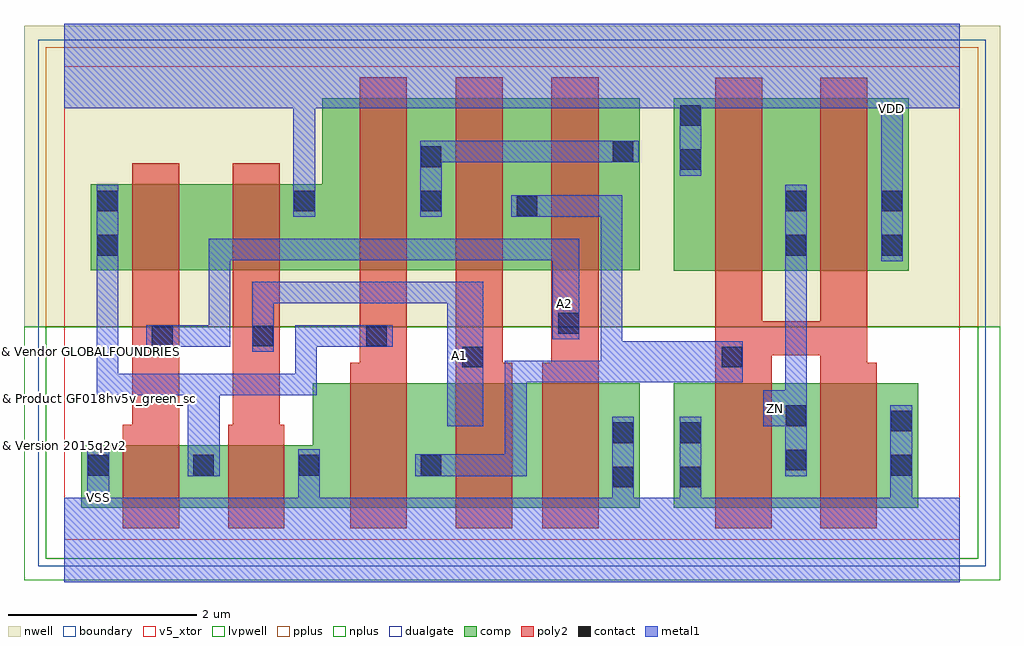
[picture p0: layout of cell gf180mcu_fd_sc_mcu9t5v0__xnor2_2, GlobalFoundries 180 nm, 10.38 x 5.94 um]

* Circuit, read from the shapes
.subckt gf180mcu_fd_sc_mcu9t5v0__xnor2_2 A1 A2 VDD VSS ZN
XM1 n1 A2 VSS VSUBS nfet_05v0 w=0.66u l=0.6u
XM2 VSS A1 n1 VSUBS nfet_05v0 w=0.66u l=0.6u
XM3 n2 n1 VSS VSUBS nfet_05v0 w=1.32u l=0.6u
XM4 n3 A1 n2 VSUBS nfet_05v0 w=1.32u l=0.6u
XM5 VSS A2 n3 VSUBS nfet_05v0 w=1.32u l=0.6u
XM6 ZN n2 VSS VSUBS nfet_05v0 w=1.32u l=0.6u m=2
XM7 n4 A2 n1 n5 pfet_05v0 w=0.915u l=0.5u
XM8 VDD A1 n4 n5 pfet_05v0 w=0.915u l=0.5u
XM9 n6 n1 VDD n5 pfet_05v0 w=1.83u l=0.5u
XM10 n2 A1 n6 n5 pfet_05v0 w=1.83u l=0.5u
XM11 n6 A2 n2 n5 pfet_05v0 w=1.83u l=0.5u
XM12 ZN n2 VDD n5 pfet_05v0 w=1.83u l=0.5u m=2
.ends

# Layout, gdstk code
import gdstk
lib = gdstk.Library(unit=1e-6, precision=1e-09)
def R(c, l, rs):  # rectangles x0, y0, x1, y1
    for r in rs: c.add(gdstk.rectangle(r[:2], r[2:], *l))
def A(c, l, x, y, w, h, nx, ny, dx, dy):  # array of equal rectangles
    R(c, l, [(x+i*dx, y+j*dy, x+i*dx+w, y+j*dy+h) for i in range(nx) for j in range(ny)])
def P(c, l, *ps):  # polygons
    for p in ps: c.add(gdstk.Polygon(p, *l))
boundary = (0, 0)
nwell = (21, 0)
comp = (22, 0)
poly2 = (30, 0)
pplus = (31, 0)
nplus = (32, 0)
contact = (33, 0)
metal1 = (34, 0)
dualgate = (55, 0)
v5_xtor = (112, 1)
lvpwell = (204, 0)

gf180mcu_fd_sc_mcu9t5v0_ = lib.new_cell('gf180mcu_fd_sc_mcu9t5v0__xnor2_2')
R(gf180mcu_fd_sc_mcu9t5v0_, boundary, [(0,0,9.52,5.04)])
R(gf180mcu_fd_sc_mcu9t5v0_, nwell, [(-0.43,2.265,9.95,5.47)])
R(gf180mcu_fd_sc_mcu9t5v0_, comp, [(6.48,0.345,9.08,1.665), (6.48,2.865,8.98,4.695)])
P(gf180mcu_fd_sc_mcu9t5v0_, comp, [(0.18,0.345),(0.18,1.005),(2.64,1.005),(2.64,1.665),(6.12,1.665),(6.12,0.345)],
  [(0.28,2.87),(0.28,3.785),(2.74,3.785),(2.74,4.7),(6.12,4.7),(6.12,2.87)])
P(gf180mcu_fd_sc_mcu9t5v0_, poly2, [(0.62,0.125),(0.62,1.225),(0.72,1.225),(0.72,4.005),(1.22,4.005),(1.22,0.125)],
  [(1.74,0.125),(1.74,1.225),(1.79,1.225),(1.79,4.005),(2.29,4.005),(2.29,1.225),(2.34,1.225),(2.34,0.125)],
  [(3.04,0.125),(3.04,1.885),(3.14,1.885),(3.14,4.92),(3.64,4.92),(3.64,0.125)],
  [(4.16,0.125),(4.16,4.92),(4.66,4.92),(4.66,1.885),(4.76,1.885),(4.76,0.125)],
  [(5.08,0.125),(5.08,1.885),(5.18,1.885),(5.18,4.92),(5.68,4.92),(5.68,0.125)],
  [(6.92,0.125),(6.92,4.915),(7.42,4.915),(7.42,2.325),(8.04,2.325),(8.04,4.915),(8.54,4.915),(8.54,1.885),(8.64,1.885),(8.64,0.125),(8.04,0.125),(8.04,1.965),(7.52,1.965),(7.52,0.125)])
R(gf180mcu_fd_sc_mcu9t5v0_, pplus, [(-0.2,2.265,9.72,5.24)])
R(gf180mcu_fd_sc_mcu9t5v0_, nplus, [(-0.2,-0.2,9.72,2.265)])
A(gf180mcu_fd_sc_mcu9t5v0_, contact, 0.25, 0.685, 0.22, 0.22, 3, 1, 1.12, 0)
R(gf180mcu_fd_sc_mcu9t5v0_, contact, [(5.83,0.56,6.05,0.78), (6.55,0.56,6.77,0.78), (3.79,0.685,4.01,0.905), (8.79,0.685,9.01,0.905), (7.67,0.74,7.89,0.96), (5.83,1.03,6.05,1.25), (6.55,1.03,6.77,1.25), (8.79,1.155,9.01,1.375), (7.67,1.21,7.89,1.43), (4.23,1.835,4.45,2.055), (6.99,1.835,7.21,2.055), (0.93,2.06,1.15,2.28), (2,2.06,2.22,2.28), (3.21,2.06,3.43,2.28), (5.25,2.195,5.47,2.415), (0.35,3.025,0.57,3.245), (7.67,3.025,7.89,3.245), (8.69,3.025,8.91,3.245), (4.81,3.44,5.03,3.66), (0.35,3.495,0.57,3.715), (2.44,3.495,2.66,3.715), (3.79,3.495,4.01,3.715), (7.67,3.495,7.89,3.715), (8.69,3.495,8.91,3.715), (6.55,3.935,6.77,4.155), (3.79,3.965,4.01,4.185), (5.83,4.02,6.05,4.24), (6.55,4.405,6.77,4.625)])
P(gf180mcu_fd_sc_mcu9t5v0_, metal1, [(1.31,0.68),(1.31,1.54),(0.345,1.54),(0.345,3.775),(0.575,3.775),(0.575,1.77),(2.455,1.77),(2.455,2.285),(3.49,2.285),(3.49,2.055),(2.685,2.055),(2.685,1.54),(1.65,1.54),(1.65,0.68)],
  [(4.07,1.21),(4.07,2.515),(2.225,2.515),(2.225,2),(1.995,2),(1.995,2.745),(4.455,2.745),(4.455,1.21)],
  [(0.87,2.055),(0.87,2.285),(1.535,2.285),(1.535,3.205),(5.475,3.205),(5.475,2.135),(5.19,2.135),(5.19,2.975),(1.765,2.975),(1.765,2.055)],
  [(3.785,3.435),(3.785,4.245),(6.11,4.245),(6.11,4.015),(4.015,4.015),(4.015,3.435)],
  [(3.73,0.68),(3.73,0.91),(4.685,0.91),(4.685,1.905),(5.705,1.905),(5.705,3.435),(4.75,3.435),(4.75,3.665),(5.935,3.665),(5.935,2.115),(7.215,2.115),(7.215,1.675),(4.915,1.675),(4.915,0.68)],
  [(7.665,0.68),(7.665,1.21),(7.43,1.21),(7.43,1.59),(7.665,1.59),(7.665,3.775),(7.895,3.775),(7.895,0.68)],
  [(0,-0.45),(0,0.45),(0.245,0.45),(0.245,0.965),(0.475,0.965),(0.475,0.45),(2.485,0.45),(2.485,0.965),(2.715,0.965),(2.715,0.45),(5.825,0.45),(5.825,1.31),(6.055,1.31),(6.055,0.45),(6.545,0.45),(6.545,1.31),(6.775,1.31),(6.775,0.45),(8.785,0.45),(8.785,1.435),(9.015,1.435),(9.015,0.45),(9.52,0.45),(9.52,-0.45)],
  [(8.685,2.965),(8.685,4.59),(6.775,4.59),(6.775,3.875),(6.545,3.875),(6.545,4.59),(2.665,4.59),(2.665,3.435),(2.435,3.435),(2.435,4.59),(0,4.59),(0,5.49),(9.52,5.49),(9.52,4.59),(8.915,4.59),(8.915,2.965)])
R(gf180mcu_fd_sc_mcu9t5v0_, dualgate, [(-0.28,-0.28,9.8,5.32)])
R(gf180mcu_fd_sc_mcu9t5v0_, v5_xtor, [(0,0,9.52,5.04)])
R(gf180mcu_fd_sc_mcu9t5v0_, lvpwell, [(-0.43,-0.43,9.95,2.265)])
gf180mcu_fd_sc_mcu9t5v0_.add(gdstk.Label('A1', (4.2,1.96), layer=34, texttype=10))
gf180mcu_fd_sc_mcu9t5v0_.add(gdstk.Label('A2', (5.32,2.52), layer=34, texttype=10))
gf180mcu_fd_sc_mcu9t5v0_.add(gdstk.Label('VDD', (8.8,4.59), layer=34, texttype=10))
gf180mcu_fd_sc_mcu9t5v0_.add(gdstk.Label('VSS', (0.36,0.45), layer=34, texttype=10))
gf180mcu_fd_sc_mcu9t5v0_.add(gdstk.Label('ZN', (7.56,1.4), layer=34, texttype=10))
gf180mcu_fd_sc_mcu9t5v0_.add(gdstk.Label('& Vendor GLOBALFOUNDRIES', (0,2), layer=63, texttype=63))
gf180mcu_fd_sc_mcu9t5v0_.add(gdstk.Label('& Product GF018hv5v_green_sc9', (0,1.5), layer=63, texttype=63))
gf180mcu_fd_sc_mcu9t5v0_.add(gdstk.Label('& Version 2015q2v2', (0,1), layer=63, texttype=63))
gf180mcu_fd_sc_mcu9t5v0_.add(gdstk.Label('& Metric 1.00', (0,0.5), layer=63, texttype=63))

lib.write_gds('gf180mcu_fd_sc_mcu9t5v0__xnor2_2.gds')
